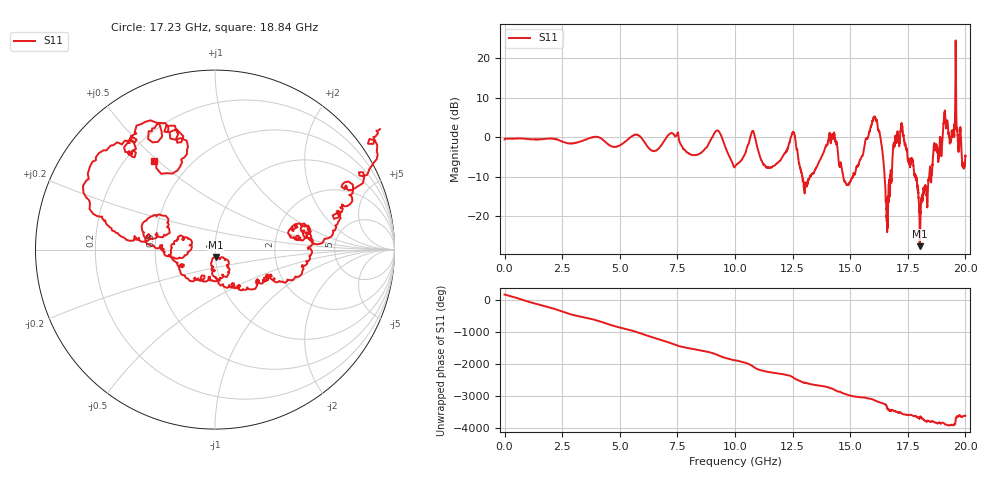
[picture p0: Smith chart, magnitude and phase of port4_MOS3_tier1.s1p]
! Created with skrf 1.8.0 (http://scikit-rf.org).
# GHz S RI R 50.0
!freq ReS11 ImS11
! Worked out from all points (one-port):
!   10000 points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, 3 MHz to 20 GHz, reference 50 ohm
!   lowest |S11| = -27.6 dB at 18.02 GHz (marker M1), VSWR 1.09, Z = 50.4 - j4.19 ohm
!   |S11| at or under -10 dB: 12.93 GHz to 13.25 GHz (322.7 MHz wide, 2.47 % of centre); 14.7 GHz to 15.1 GHz (397 MHz wide, 2.66 % of centre); 17.84 GHz to 18.43 GHz (590 MHz wide, 3.25 % of centre) (the widest 3 of 10)
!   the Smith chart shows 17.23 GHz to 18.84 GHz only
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0.0029999  -0.9405 0.0338
0.7889606  0.9474 0.1863
1.236938  0.0355 -0.9412
1.728914  -0.9541 0.00154
2.502875  0.8809 0.06
3.426829  -0.9052 -0.1261
4.0048  0.0353 1.015
4.39078  0.8682 -0.0293
5.00275  -0.5442 -0.5735
5.676716  -0.1573 1.066
6.042698  0.8848 0.1423
6.966652  -0.873 0.339
7.502625  0.98 0.5342
8.382581  -0.2454 -0.5516
9.238538  0.0407 1.219
10.0025  0.1026 -0.4131
10.76246  -0.1083 1.203
12.50237  -0.5161 1.036
15.00225  -0.0751 -0.2637
16.0902  -0.2497 1.765
16.50617  0.2731 -0.0661
17.14614  0.0226 0.846
17.50212  0.4991 0.0708
18.0201  0.00534 -0.0416
19.13804  0.6435 1.538
19.47203  0.5752 0.9435
19.67402  0.7457 -0.518
20  0.5534 -0.17
